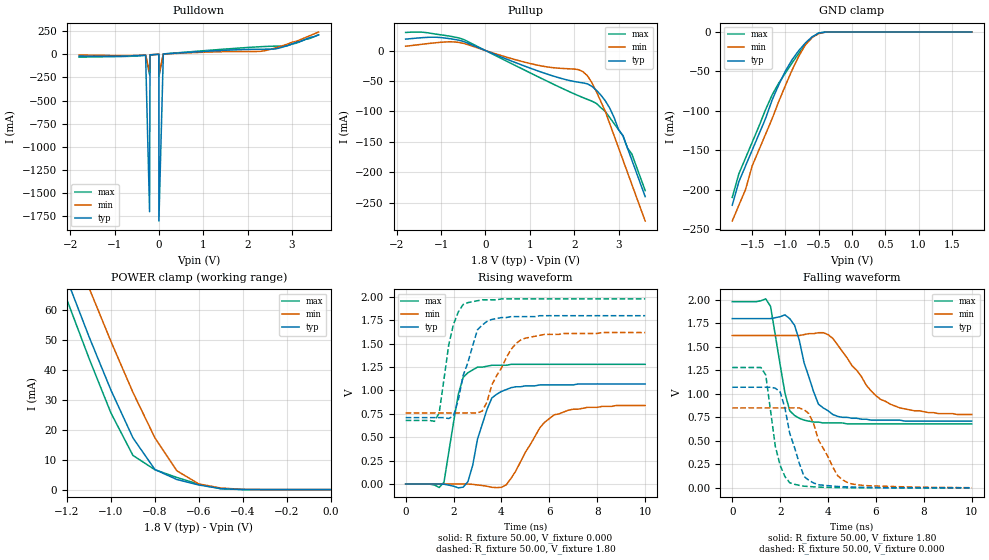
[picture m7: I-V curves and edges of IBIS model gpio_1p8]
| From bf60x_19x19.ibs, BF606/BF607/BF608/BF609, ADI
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[Model]   gpio_1p8
Model_type   I/O
Polarity   Non-Inverting
Enable   Active-High
Vinl =   0.54V
Vinh =   1.62V
Cref =  10.00pF
C_comp   5.00pF   5.00pF   5.00pF
[Temperature Range]   25.00   125.00   -40.00
[Voltage Range]   1.80V   1.62V   1.98V
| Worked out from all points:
|   slope of the pulldown table from 0 to 0.27 V, typ, clamps not added: 149 mohm
|   slope of the pullup table from 0 to 0.27 V, typ, clamps not added: 33.5 ohm
|   GND clamp passes 1 mA (typ) near -0.47 V on its own axis
|   POWER clamp passes 1 mA (typ) near -0.56 V on its own axis
|   rising waveform, R_fixture 50.00, V_fixture 0.000: 20-80 % time 683ps typ, 1.2ns min, 523ps max; typ from 0 V to 1.07 V
|   rising waveform, R_fixture 50.00, V_fixture 1.80: 20-80 % time 698ps typ, 969ps min, 515ps max; typ from 0.71 V to 1.8 V
|   falling waveform, R_fixture 50.00, V_fixture 1.80: 20-80 % time 757ps typ, 1.57ns min, 538ps max; typ from 1.8 V to 0.71 V
|   falling waveform, R_fixture 50.00, V_fixture 0.000: 20-80 % time 673ps typ, 908ps min, 491ps max; typ from 1.07 V to 0 V
[Pulldown]
| voltage   I(typ)   I(min)   I(max)
-1.8V     -19.7mA    -7.4mA     -30.2mA
-300mV    -9.55mA    -7.51mA    -11.58mA
-210mV    -1.7A      -190mA     -220mA
-200mV    -6.36mA    -4.99mA    -7.71mA
-100mV    -3.17mA    -2.48mA    -3.86mA
0V        290nA      220nA      350nA
100mV     3.16mA     2.44mA     3.85mA
1.3V      38.16mA    26.29mA    49mA
2.3V      54.5mA     32.05mA    81.73mA
2.6V      56.5mA     64.98mA    87.14mA
2.9V      93.88mA    110mA      92.8mA
3.6V      210mA      240mA      210mA
[Pullup]
| voltage   I(typ)   I(min)   I(max)
-1.8V     18.8mA     7.1mA      29.7mA
-1.1V     21.81mA    12.94mA    26.8mA
-500mV    15.03mA    11.86mA    18.38mA
1V        -28.7mA    -21.2mA    -36.4mA
2.2V      -53.15mA   -34.82mA   -77.37mA
2.4V      -58.86mA   -52.93mA   -83.09mA
2.8V      -94.47mA   -120mA     -110mA
3V        -130mA     -160mA     -130mA
3.1V      -140mA     -180mA     -140mA
3.2V      -160mA     -200mA     -160mA
3.3V      -180mA     -220mA     -170mA
3.6V      -240mA     -280mA     -230mA
[GND_clamp]
| voltage   I(typ)   I(min)   I(max)
-1.8V     -220mA     -240mA     -210mA
-1.7V     -190mA     -220mA     -180mA
-1.6V     -170mA     -200mA     -160mA
-1.5V     -150mA     -170mA     -140mA
-1.3V     -110mA     -130mA     -98.7mA
-1.2V     -86.27mA   -110mA     -79.84mA
-1V       -49.44mA   -67.65mA   -52.08mA
-900mV    -35.1mA    -48.29mA   -39.24mA
-700mV    -13.85mA   -16.34mA   -15.87mA
-600mV    -6.09mA    -6.96mA    -6.74mA
-400mV    -75.96uA   -260uA     -32.04uA
1.8V      110nA      400nA      73.08nA
[POWER_clamp]
| voltage   I(typ)   I(min)   I(max)
-1.8V     190mA      200mA      190mA
-1.3V     90mA       100mA      83.18mA
-1.2V     70.15mA    85.83mA    63.28mA
-1.1V     51.07mA    67.38mA    43.86mA
-1V       33.18mA    49.46mA    25.56mA
-900mV    17.28mA    32.46mA    11.41mA
-800mV    6.7mA      17.28mA    6.64mA
-700mV    3.37mA     6.28mA     4.05mA
-600mV    1.53mA     1.89mA     1.78mA
-500mV    330uA      530uA      280uA
-400mV    18.36uA    76.28uA    6.12uA
0V        110nA      110nA      120nA
[Ramp]
| variable   typ   min   max
dV/dt_r   1.05/0.77n   0.93/1.16n   1.16/0.56n
dV/dt_f   1.05/0.80n   0.93/1.29n   1.16/0.55n
R_load = 1.00k
[Rising Waveform]
R_fixture = 50.00
V_fixture = 0.000
| time   V(typ)   V(min)   V(max)
0s        2.19uV     3.15uV     1.67uV
1.6ns     -2.25mV    -11.35uV   18.5mV
2.2ns     -41.16mV   280uV      960mV
2.4ns     -33.78mV   -260uV     1.14V
2.6ns     25.14mV    -940uV     1.19V
3ns       480mV      -10.65mV   1.25V
3.6ns     920mV      -35.28mV   1.27V
4.4ns     1.03V      59.53mV    1.28V
6.2ns     1.06V      740mV      1.28V
10ns      1.07V      840mV      1.28V
[Rising Waveform]
R_fixture = 50.00
V_fixture = 1.80
V_fixture_min = 1.62
V_fixture_max = 1.98
| time   V(typ)   V(min)   V(max)
0s        710mV      760mV      680mV
1.2ns     710mV      760mV      670mV
1.4ns     710mV      760mV      760mV
1.8ns     700mV      760mV      1.49V
2ns       730mV      760mV      1.71V
2.4ns     1.16V      760mV      1.92V
3ns       1.65V      760mV      1.96V
4.4ns     1.79V      1.44V      1.98V
4.8ns     1.79V      1.54V      1.98V
10ns      1.8V       1.62V      1.98V
[Falling Waveform]
R_fixture = 50.00
V_fixture = 1.80
V_fixture_min = 1.62
V_fixture_max = 1.98
| time   V(typ)   V(min)   V(max)
0s        1.8V       1.62V      1.98V
1.4ns     1.8V       1.62V      2.01V
1.6ns     1.8V       1.62V      1.93V
2.2ns     1.84V      1.62V      1.01V
2.4ns     1.8V       1.62V      820mV
2.8ns     1.57V      1.62V      740mV
3.6ns     890mV      1.65V      700mV
4.2ns     780mV      1.59V      690mV
6.2ns     720mV      940mV      680mV
10ns      710mV      780mV      680mV
[Falling Waveform]
R_fixture = 50.00
V_fixture = 0.000
| time   V(typ)   V(min)   V(max)
0s        1.07V      850mV      1.28V
1.2ns     1.07V      850mV      1.28V
1.4ns     1.07V      850mV      1.2V
1.8ns     1.06V      850mV      440mV
2ns       1.02V      850mV      240mV
2.4ns     580mV      850mV      54.48mV
3ns       120mV      830mV      17.59mV
4.4ns     14.64mV    130mV      2.53mV
4.8ns     10.26mV    58.01mV    1.45mV
10ns      85.86uV    2.13mV     1.04uV
